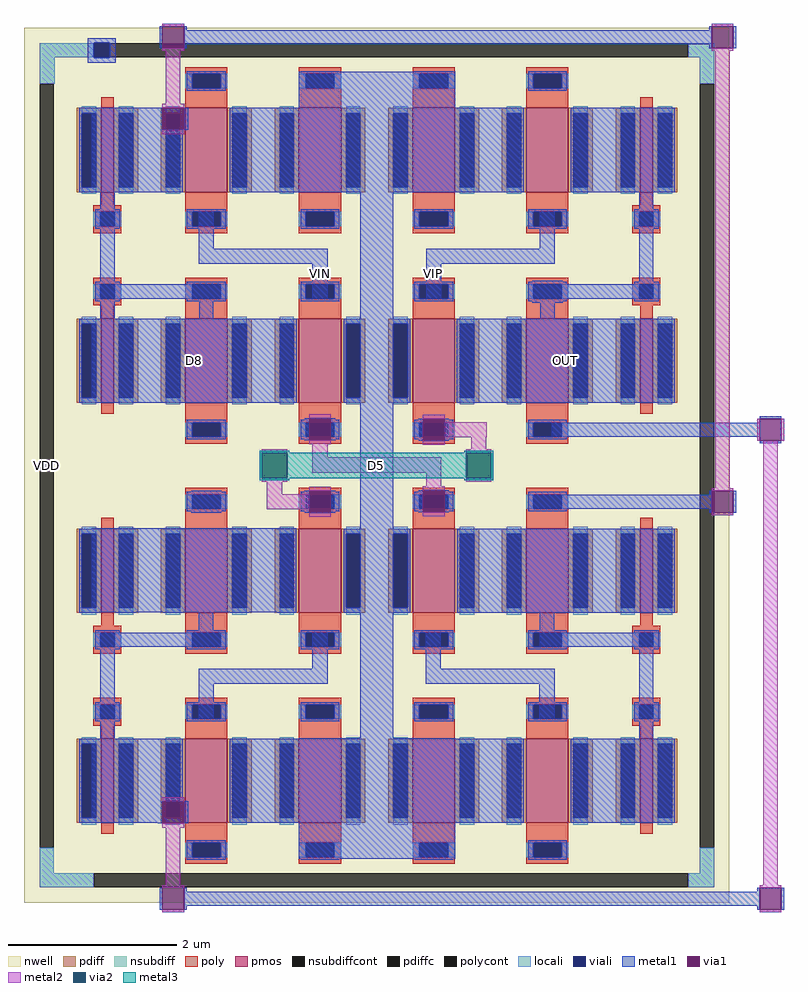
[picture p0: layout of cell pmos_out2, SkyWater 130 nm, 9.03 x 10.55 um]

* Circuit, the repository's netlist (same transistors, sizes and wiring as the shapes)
** sch_path: /home/jihananz/project/opamp/mag/pmos_out2.sch
.subckt pmos_out2 D5 VDD VIP VIN OUT D8
*.PININFO VIP:I VIN:I D8:B D5:B VDD:B OUT:O
XM6 D8 VIN D5 VDD sky130_fd_pr__pfet_01v8 L=0.5 W=1 nf=1 m=4
XM7 OUT VIP D5 VDD sky130_fd_pr__pfet_01v8 L=0.5 W=1 nf=1 m=4
XM1 D5 D5 D5 VDD sky130_fd_pr__pfet_01v8 L=0.5 W=1 nf=1 m=4
XM2 D8 D8 D8 VDD sky130_fd_pr__pfet_01v8 L=0.5 W=1 nf=1 m=2
XM3 OUT OUT OUT VDD sky130_fd_pr__pfet_01v8 L=0.5 W=1 nf=1 m=2
XM4 D8 D8 D8 VDD sky130_fd_pr__pfet_01v8 L=0.15 W=1 nf=1 m=4
XM5 OUT OUT OUT VDD sky130_fd_pr__pfet_01v8 L=0.15 W=1 nf=1 m=4
.ends
.end

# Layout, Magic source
magic
tech sky130A
magscale 1 2
<< nwell >>
rect -289 -1587 1386 490
<< nsubdiff >>
rect -252 420 -123 454
rect 1289 420 1350 454
rect -252 357 -216 420
rect 1316 357 1350 420
rect -252 -1517 -218 -1457
rect 1316 -1517 1350 -1457
rect -252 -1551 -123 -1517
rect 1289 -1551 1350 -1517
<< nsubdiffcont >>
rect -123 420 1289 454
rect -252 -1457 -218 357
rect 1316 -1457 1350 357
rect -123 -1551 1289 -1517
<< locali >>
rect -252 420 -123 454
rect 1289 420 1350 454
rect -252 357 -216 420
rect 1316 357 1350 420
rect -252 -1517 -218 -1457
rect 1316 -1517 1350 -1457
rect -252 -1551 -123 -1517
rect 1289 -1551 1350 -1517
<< viali >>
rect -123 454 -85 455
rect -123 420 -85 454
rect -123 419 -85 420
<< metal1 >>
rect -138 455 -71 466
rect -138 419 -123 455
rect -85 419 -71 455
rect 33 442 39 494
rect 91 485 97 494
rect 1338 485 1344 494
rect 91 451 1344 485
rect 91 442 97 451
rect 1338 442 1344 451
rect 1396 442 1402 494
rect -138 407 -71 419
rect 364 300 735 386
rect -128 248 39 300
rect 91 248 101 300
rect -128 100 88 248
rect 200 100 898 300
rect 1010 100 1256 300
rect -108 -119 -74 100
rect 126 -34 162 53
rect 126 -70 432 -34
rect -108 -153 178 -119
rect 396 -153 432 -70
rect -108 -200 -74 -153
rect 127 -200 161 -153
rect -128 -400 359 -200
rect 378 -489 388 -437
rect 440 -489 450 -437
rect 108 -661 180 -609
rect 378 -661 388 -609
rect 440 -661 450 -609
rect -128 -898 358 -698
rect -108 -946 -74 -945
rect 126 -946 160 -898
rect -108 -980 178 -946
rect -108 -1198 -74 -980
rect 396 -1032 432 -946
rect 126 -1068 432 -1032
rect 126 -1151 162 -1068
rect 510 -1197 588 100
rect 936 -34 972 53
rect 666 -70 972 -34
rect 666 -153 702 -70
rect 918 -119 990 -110
rect 1172 -119 1206 100
rect 918 -153 1206 -119
rect 918 -162 990 -153
rect 937 -200 971 -162
rect 739 -400 1256 -200
rect 1458 -438 1510 -432
rect 648 -490 658 -438
rect 710 -490 720 -438
rect 964 -481 1458 -447
rect 1458 -496 1510 -490
rect 648 -660 658 -608
rect 710 -660 720 -608
rect 1338 -618 1344 -609
rect 920 -652 1344 -618
rect 1338 -661 1344 -652
rect 1396 -661 1402 -609
rect 740 -899 1257 -699
rect 936 -946 970 -899
rect 665 -1032 701 -946
rect 936 -980 1206 -946
rect 665 -1068 971 -1032
rect 935 -1151 971 -1068
rect 364 -1198 735 -1197
rect 1172 -1198 1206 -980
rect -128 -1347 88 -1198
rect -128 -1398 39 -1347
rect 29 -1399 39 -1398
rect 91 -1399 101 -1347
rect 201 -1398 898 -1198
rect 1010 -1398 1256 -1198
rect 364 -1483 735 -1398
rect 33 -1604 39 -1552
rect 91 -1561 97 -1552
rect 1452 -1561 1458 -1552
rect 91 -1595 1458 -1561
rect 91 -1604 97 -1595
rect 1452 -1604 1458 -1595
rect 1510 -1604 1516 -1552
<< via1 >>
rect 39 442 91 494
rect 1344 442 1396 494
rect 39 248 91 300
rect 388 -489 440 -437
rect 388 -661 440 -609
rect 658 -490 710 -438
rect 1458 -490 1510 -438
rect 658 -660 710 -608
rect 1344 -661 1396 -609
rect 39 -1399 91 -1347
rect 39 -1604 91 -1552
rect 1458 -1604 1510 -1552
<< metal2 >>
rect 39 494 91 500
rect 39 436 91 442
rect 1344 494 1396 500
rect 1344 436 1396 442
rect 48 310 82 436
rect 39 300 91 310
rect 39 238 91 248
rect 388 -437 440 -427
rect 388 -499 440 -489
rect 658 -438 710 -428
rect 710 -482 810 -446
rect 276 -519 336 -510
rect 396 -530 432 -499
rect 658 -500 710 -490
rect 773 -510 809 -482
rect 761 -519 821 -510
rect 396 -566 702 -530
rect 276 -588 336 -579
rect 288 -617 324 -588
rect 666 -598 702 -566
rect 761 -588 821 -579
rect 388 -609 440 -599
rect 288 -653 388 -617
rect 388 -671 440 -661
rect 658 -608 710 -598
rect 1353 -603 1387 436
rect 1452 -490 1458 -438
rect 1510 -490 1516 -438
rect 658 -670 710 -660
rect 1344 -609 1396 -603
rect 1344 -667 1396 -661
rect 39 -1347 91 -1337
rect 39 -1409 91 -1399
rect 48 -1546 82 -1409
rect 1467 -1546 1501 -490
rect 39 -1552 91 -1546
rect 39 -1610 91 -1604
rect 1458 -1552 1510 -1546
rect 1458 -1610 1510 -1604
<< via2 >>
rect 276 -579 336 -519
rect 761 -579 821 -519
<< metal3 >>
rect 271 -519 341 -514
rect 756 -519 826 -514
rect 271 -579 276 -519
rect 336 -579 761 -519
rect 821 -579 826 -519
rect 271 -584 341 -579
rect 756 -584 826 -579
use sky130_fd_pr__pfet_01v8_BHRSS5  sky130_fd_pr__pfet_01v8_BHRSS5_0
transform 1 0 954 0 1 200
box -144 -200 144 200
use sky130_fd_pr__pfet_01v8_BHRSS5  sky130_fd_pr__pfet_01v8_BHRSS5_1
transform 1 0 144 0 1 200
box -144 -200 144 200
use sky130_fd_pr__pfet_01v8_BHRSS5  sky130_fd_pr__pfet_01v8_BHRSS5_2
transform 1 0 414 0 1 200
box -144 -200 144 200
use sky130_fd_pr__pfet_01v8_BHRSS5  sky130_fd_pr__pfet_01v8_BHRSS5_3
transform 1 0 684 0 1 200
box -144 -200 144 200
use sky130_fd_pr__pfet_01v8_BHRSS5  sky130_fd_pr__pfet_01v8_BHRSS5_4
transform 1 0 954 0 1 -300
box -144 -200 144 200
use sky130_fd_pr__pfet_01v8_BHRSS5  sky130_fd_pr__pfet_01v8_BHRSS5_5
transform 1 0 144 0 1 -300
box -144 -200 144 200
use sky130_fd_pr__pfet_01v8_BHRSS5  sky130_fd_pr__pfet_01v8_BHRSS5_6
transform 1 0 414 0 1 -300
box -144 -200 144 200
use sky130_fd_pr__pfet_01v8_BHRSS5  sky130_fd_pr__pfet_01v8_BHRSS5_7
transform 1 0 684 0 1 -300
box -144 -200 144 200
use sky130_fd_pr__pfet_01v8_BHRSS5  sky130_fd_pr__pfet_01v8_BHRSS5_8
transform 1 0 414 0 1 -799
box -144 -200 144 200
use sky130_fd_pr__pfet_01v8_BHRSS5  sky130_fd_pr__pfet_01v8_BHRSS5_9
transform 1 0 144 0 1 -799
box -144 -200 144 200
use sky130_fd_pr__pfet_01v8_BHRSS5  sky130_fd_pr__pfet_01v8_BHRSS5_10
transform 1 0 684 0 1 -799
box -144 -200 144 200
use sky130_fd_pr__pfet_01v8_BHRSS5  sky130_fd_pr__pfet_01v8_BHRSS5_11
transform 1 0 954 0 1 -799
box -144 -200 144 200
use sky130_fd_pr__pfet_01v8_BHRSS5  sky130_fd_pr__pfet_01v8_BHRSS5_12
transform 1 0 954 0 1 -1298
box -144 -200 144 200
use sky130_fd_pr__pfet_01v8_BHRSS5  sky130_fd_pr__pfet_01v8_BHRSS5_13
transform 1 0 144 0 1 -1298
box -144 -200 144 200
use sky130_fd_pr__pfet_01v8_BHRSS5  sky130_fd_pr__pfet_01v8_BHRSS5_14
transform 1 0 414 0 1 -1298
box -144 -200 144 200
use sky130_fd_pr__pfet_01v8_BHRSS5  sky130_fd_pr__pfet_01v8_BHRSS5_15
transform 1 0 684 0 1 -1298
box -144 -200 144 200
use sky130_fd_pr__pfet_01v8_LA8JHL  sky130_fd_pr__pfet_01v8_LA8JHL_0
transform 1 0 -91 0 1 164
box -109 -164 109 198
use sky130_fd_pr__pfet_01v8_LA8JHL  sky130_fd_pr__pfet_01v8_LA8JHL_1
transform 1 0 1189 0 1 164
box -109 -164 109 198
use sky130_fd_pr__pfet_01v8_LA8JHL  sky130_fd_pr__pfet_01v8_LA8JHL_2
transform 1 0 -91 0 1 -835
box -109 -164 109 198
use sky130_fd_pr__pfet_01v8_LA8JHL  sky130_fd_pr__pfet_01v8_LA8JHL_3
transform 1 0 1189 0 1 -835
box -109 -164 109 198
use sky130_fd_pr__pfet_01v8_MA8JHN  sky130_fd_pr__pfet_01v8_MA8JHN_0
transform 1 0 -91 0 1 -264
box -109 -198 109 164
use sky130_fd_pr__pfet_01v8_MA8JHN  sky130_fd_pr__pfet_01v8_MA8JHN_1
transform 1 0 1189 0 1 -264
box -109 -198 109 164
use sky130_fd_pr__pfet_01v8_MA8JHN  sky130_fd_pr__pfet_01v8_MA8JHN_2
transform 1 0 -91 0 1 -1262
box -109 -198 109 164
use sky130_fd_pr__pfet_01v8_MA8JHN  sky130_fd_pr__pfet_01v8_MA8JHN_3
transform 1 0 1189 0 1 -1262
box -109 -198 109 164
<< labels >>
flabel metal1 396 -153 432 -34 0 FreeSans 320 0 0 0 VIN
port 1 nsew
flabel metal1 666 -153 702 -34 0 FreeSans 320 0 0 0 VIP
port 2 nsew
flabel metal1 -128 -400 359 -200 0 FreeSans 320 0 0 0 D8
port 3 nsew
flabel metal1 739 -400 1256 -200 0 FreeSans 320 0 0 0 OUT
port 4 nsew
flabel nwell -252 -1457 -218 357 0 FreeSans 320 0 0 0 VDD
port 5 nsew
flabel metal1 510 -1483 588 386 0 FreeSans 320 0 0 0 D5
port 0 nsew
<< end >>

# cell sky130_fd_pr__pfet_01v8_BHRSS5: kit device sky130_fd_pr__pfet_01v8, w 1 l 0.5 m 1 nf 1 diffcov 100 polycov 100 guard 0 glc 1 grc 1 gtc 1 gbc 1 tbcov 100 rlcov 100 topc 1 botc 1 poverlap 0 doverlap 1 lmin 0.15 wmin 0.42 compatible {sky130_fd_pr__pfet_01v8 sky130_fd_pr__pfet_01v8_lvt sky130_fd_pr__pfet_01v8_hvt sky130_fd_pr__pfet_g5v0d10v5} full_metal 1 viasrc 100 viadrn 100 viagate 100 viagb 0 viagr 0 viagl 0 viagt 0

# cell sky130_fd_pr__pfet_01v8_LA8JHL: kit device sky130_fd_pr__pfet_01v8, w 1 l 0.15 m 1 nf 1 diffcov 100 polycov 100 guard 0 glc 1 grc 1 gtc 1 gbc 1 tbcov 100 rlcov 100 topc 0 botc 1 poverlap 0 doverlap 1 lmin 0.15 wmin 0.42 compatible {sky130_fd_pr__pfet_01v8 sky130_fd_pr__pfet_01v8_lvt sky130_fd_pr__pfet_01v8_hvt sky130_fd_pr__pfet_g5v0d10v5} full_metal 1 viasrc 100 viadrn 100 viagate 100 viagb 0 viagr 0 viagl 0 viagt 0

# cell sky130_fd_pr__pfet_01v8_MA8JHN: kit device sky130_fd_pr__pfet_01v8, w 1 l 0.15 m 1 nf 1 diffcov 100 polycov 100 guard 0 glc 1 grc 1 gtc 1 gbc 1 tbcov 100 rlcov 100 topc 1 botc 0 poverlap 0 doverlap 1 lmin 0.15 wmin 0.42 compatible {sky130_fd_pr__pfet_01v8 sky130_fd_pr__pfet_01v8_lvt sky130_fd_pr__pfet_01v8_hvt sky130_fd_pr__pfet_g5v0d10v5} full_metal 1 viasrc 100 viadrn 100 viagate 100 viagb 0 viagr 0 viagl 0 viagt 0
